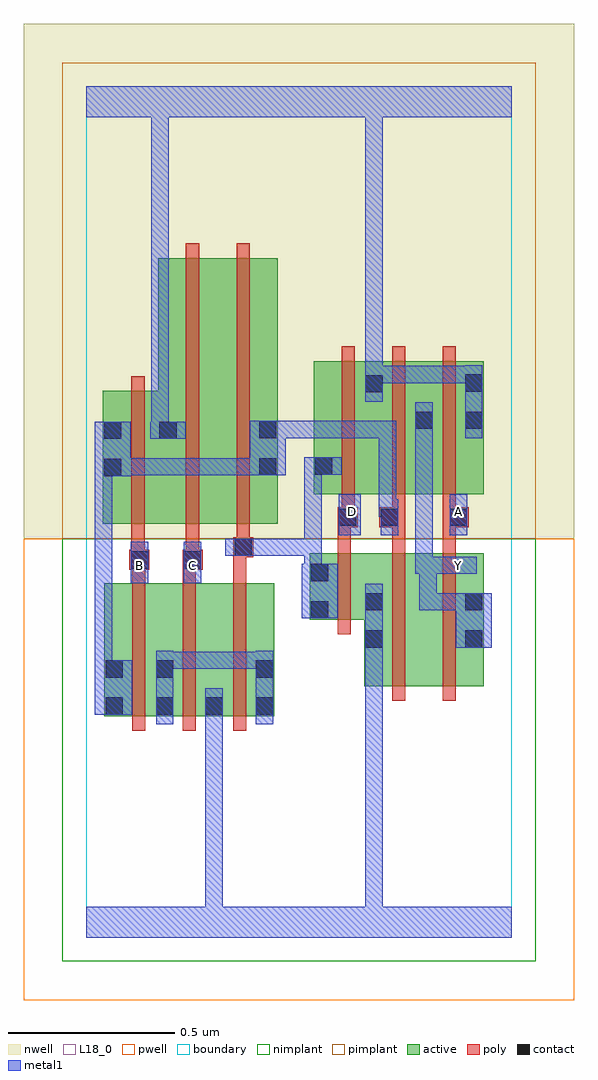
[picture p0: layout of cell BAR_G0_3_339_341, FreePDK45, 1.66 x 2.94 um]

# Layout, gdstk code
import gdstk
lib = gdstk.Library(unit=1e-6, precision=1e-09)
def R(c, l, rs):  # rectangles x0, y0, x1, y1
    for r in rs: c.add(gdstk.rectangle(r[:2], r[2:], *l))
def A(c, l, x, y, w, h, nx, ny, dx, dy):  # array of equal rectangles
    R(c, l, [(x+i*dx, y+j*dy, x+i*dx+w, y+j*dy+h) for i in range(nx) for j in range(ny)])
active = (1, 0)
pwell = (2, 0)
nwell = (3, 0)
nimplant = (4, 0)
pimplant = (5, 0)
poly = (9, 0)
contact = (10, 0)
metal1 = (11, 0)
L18_0 = (18, 0)
boundary = (235, 0)

bar_g0_3_339_341 = lib.new_cell('BAR_G0_3_339_341')
R(bar_g0_3_339_341, active, [(0.054,0.666,0.114,1.066), (0.054,0.666,0.266,1.066), (0.206,0.666,0.266,1.066), (0.206,0.666,0.414,1.066), (0.354,0.666,0.566,1.066), (0.354,0.666,0.414,0.726), (0.506,0.666,0.566,1.066), (0.836,0.756,0.896,1.156), (0.836,0.756,1.016,1.156), (1.016,0.756,1.196,1.156), (1.136,0.756,1.196,1.156), (0.672,0.956,0.896,1.156), (0.672,0.956,0.732,1.156), (0.05,1.244,0.11,1.644), (0.05,1.244,0.276,1.644), (0.216,1.244,0.396,2.044), (0.216,1.244,0.276,1.684), (0.396,1.244,0.576,2.044), (0.516,1.244,0.576,2.044), (0.684,1.334,0.896,1.734), (0.684,1.334,0.744,1.644), (0.836,1.334,1.046,1.734), (0.836,1.334,0.896,1.696), (0.986,1.334,1.196,1.734), (0.986,1.334,1.046,1.644), (1.136,1.334,1.196,1.734)])
R(bar_g0_3_339_341, pwell, [(-0.188,-0.188,1.468,1.2)])
R(bar_g0_3_339_341, nwell, [(-0.188,1.2,1.468,2.748)])
R(bar_g0_3_339_341, nimplant, [(-0.072,-0.072,1.352,1.2)])
R(bar_g0_3_339_341, pimplant, [(-0.072,1.2,1.352,2.632)])
A(bar_g0_3_339_341, poly, 0.138, 0.622, 0.04, 0.488, 3, 1, 0.152, 0)
A(bar_g0_3_339_341, poly, 0.768, 1.254, 0.04, 0.076, 3, 1, 0.152, 0)
A(bar_g0_3_339_341, poly, 0.768, 1.29, 0.04, 0.488, 3, 1, 0.152, 0)
R(bar_g0_3_339_341, poly, [(0.92,0.712,0.96,1.2), (1.072,0.712,1.112,1.2), (0.756,0.912,0.796,1.2), (0.138,1.07,0.178,1.146), (0.29,1.07,0.33,1.146), (0.442,1.07,0.482,1.184), (0.13,1.106,0.19,1.166), (0.29,1.106,0.33,1.146), (0.29,1.106,0.33,1.146), (0.29,1.106,0.35,1.166), (0.136,1.126,0.176,1.166), (0.136,1.126,0.176,1.166), (0.136,1.126,0.176,1.24), (0.3,1.126,0.34,1.24), (0.442,1.144,0.502,1.204), (0.756,1.16,0.796,1.274), (0.92,1.16,0.96,1.274), (1.072,1.16,1.112,1.274), (0.452,1.164,0.492,1.24), (0.452,1.164,0.492,1.204), (0.452,1.164,0.492,1.204), (0.136,1.2,0.176,1.688), (0.3,1.2,0.34,2.088), (0.452,1.2,0.492,2.088), (0.756,1.234,0.816,1.294), (0.882,1.234,0.96,1.294), (0.92,1.234,0.96,1.274), (0.92,1.234,0.96,1.274), (1.072,1.234,1.112,1.274), (1.072,1.234,1.112,1.274), (1.072,1.234,1.15,1.294), (0.768,1.254,0.808,1.294), (0.768,1.254,0.808,1.294)])
R(bar_g0_3_339_341, contact, [(0.058,0.67,0.11,0.722), (0.21,0.67,0.262,0.722), (0.358,0.67,0.41,0.722), (0.51,0.67,0.562,0.722), (0.058,0.782,0.11,0.834), (0.21,0.782,0.262,0.834), (0.51,0.782,0.562,0.834), (0.84,0.872,0.892,0.924), (1.14,0.872,1.192,0.924), (0.676,0.96,0.728,1.012), (0.84,0.984,0.892,1.036), (1.14,0.984,1.192,1.036), (0.676,1.072,0.728,1.124), (0.134,1.11,0.186,1.162), (0.294,1.11,0.346,1.162), (0.446,1.148,0.498,1.2), (0.76,1.238,0.812,1.29), (0.886,1.238,0.938,1.29), (1.094,1.238,1.146,1.29), (0.054,1.388,0.106,1.44), (0.52,1.39,0.572,1.442), (0.688,1.392,0.74,1.444), (0.054,1.5,0.106,1.552), (0.22,1.5,0.272,1.552), (0.52,1.502,0.572,1.554), (0.99,1.53,1.042,1.582), (1.14,1.53,1.192,1.582), (0.84,1.64,0.892,1.692), (1.14,1.642,1.192,1.694)])
R(bar_g0_3_339_341, metal1, [(0,0,1.28,0.092), (0.358,0.04,0.41,0.694), (0.84,0.04,0.892,0.896), (0.21,0.642,0.262,0.862), (0.358,0.642,0.41,0.694), (0.358,0.642,0.41,0.694), (0.358,0.642,0.41,0.694), (0.358,0.642,0.41,0.694), (0.358,0.642,0.41,0.694), (0.358,0.642,0.41,0.694), (0.358,0.642,0.41,0.694), (0.358,0.642,0.41,0.694), (0.358,0.642,0.41,0.694), (0.358,0.642,0.41,0.694), (0.358,0.642,0.41,0.694), (0.358,0.642,0.41,0.694), (0.358,0.642,0.41,0.75), (0.51,0.642,0.562,0.862), (0.026,0.67,0.138,0.834), (0.026,0.782,0.078,0.834), (0.026,0.782,0.078,0.834), (0.026,0.782,0.078,1.44), (0.21,0.808,0.262,0.86), (0.21,0.808,0.262,0.86), (0.21,0.808,0.416,0.86), (0.364,0.808,0.416,0.86), (0.364,0.808,0.416,0.86), (0.364,0.808,0.416,0.86), (0.364,0.808,0.562,0.86), (0.84,0.844,0.892,1.064), (0.84,0.844,0.892,0.896), (0.84,0.844,0.892,0.896), (0.84,0.844,0.892,0.896), (0.84,0.844,0.892,0.896), (0.84,0.844,0.892,0.896), (0.84,0.844,0.892,0.896), (0.84,0.844,0.892,0.896), (0.84,0.844,0.892,0.896), (0.84,0.844,0.892,0.896), (0.84,0.844,0.892,0.896), (0.84,0.844,0.892,0.896), (0.84,0.844,0.892,0.896), (1.112,0.872,1.22,1.036), (0.648,0.96,0.756,1.124), (1.002,0.984,1.054,1.036), (1.002,0.984,1.164,1.036), (1.002,0.984,1.054,1.146), (1.112,0.984,1.164,1.036), (1.112,0.984,1.164,1.036), (0.134,1.066,0.186,1.19), (0.294,1.066,0.346,1.19), (0.656,1.072,0.708,1.2), (0.99,1.094,1.042,1.554), (0.99,1.094,1.174,1.146), (0.418,1.148,0.526,1.2), (0.474,1.148,0.526,1.2), (0.474,1.148,0.526,1.2), (0.474,1.148,0.708,1.2), (0.656,1.148,0.708,1.2), (0.656,1.148,0.708,1.444), (0.76,1.21,0.826,1.334), (0.886,1.21,0.938,1.318), (1.094,1.21,1.146,1.334), (0.88,1.266,0.932,1.318), (0.88,1.266,0.938,1.318), (0.88,1.266,0.932,1.554), (0.026,1.388,0.078,1.44), (0.026,1.388,0.078,1.44), (0.026,1.388,0.134,1.552), (0.082,1.39,0.134,1.442), (0.082,1.39,0.134,1.442), (0.082,1.39,0.248,1.442), (0.196,1.39,0.248,1.442), (0.196,1.39,0.248,1.442), (0.196,1.39,0.248,1.442), (0.196,1.39,0.416,1.442), (0.364,1.39,0.416,1.442), (0.364,1.39,0.544,1.442), (0.492,1.39,0.544,1.442), (0.492,1.39,0.544,1.442), (0.492,1.39,0.6,1.554), (0.656,1.392,0.712,1.444), (0.66,1.392,0.712,1.444), (0.66,1.392,0.768,1.444), (0.192,1.5,0.3,1.552), (0.196,1.5,0.248,1.552), (0.196,1.5,0.248,1.552), (0.196,1.5,0.248,2.52), (0.548,1.502,0.6,1.554), (0.548,1.502,0.6,1.554), (0.548,1.502,0.782,1.554), (0.73,1.502,0.782,1.554), (0.73,1.502,0.782,1.554), (0.73,1.502,0.782,1.554), (0.73,1.502,0.932,1.554), (0.88,1.502,0.932,1.554), (0.88,1.502,0.932,1.554), (0.88,1.502,0.932,1.554), (0.99,1.502,1.042,1.554), (0.99,1.502,1.042,1.554), (0.99,1.502,1.042,1.61), (1.14,1.502,1.192,1.722), (0.84,1.612,0.892,1.72), (0.84,1.668,0.892,1.72), (0.84,1.668,0.892,1.72), (0.84,1.668,0.892,1.72), (0.84,1.668,0.892,1.72), (0.84,1.668,0.892,1.72), (0.84,1.668,0.892,1.72), (0.84,1.668,0.892,1.72), (0.84,1.668,0.892,1.72), (0.84,1.668,0.892,1.72), (0.84,1.668,0.892,1.72), (0.84,1.668,1.054,1.72), (0.84,1.668,0.892,2.52), (1.002,1.668,1.192,1.72), (1.002,1.668,1.054,1.72), (1.002,1.668,1.054,1.72), (1.002,1.668,1.054,1.72), (0,2.468,1.28,2.56), (0.196,2.468,0.248,2.52), (0.196,2.468,0.248,2.52), (0.196,2.468,0.248,2.52), (0.196,2.468,0.248,2.52), (0.196,2.468,0.248,2.52), (0.196,2.468,0.248,2.52), (0.84,2.468,0.892,2.52), (0.84,2.468,0.892,2.52), (0.84,2.468,0.892,2.52), (0.84,2.468,0.892,2.52), (0.84,2.468,0.892,2.52), (0.84,2.468,0.892,2.52), (0.84,2.468,0.892,2.52), (0.84,2.468,0.892,2.52)])
R(bar_g0_3_339_341, L18_0, [(0,0,1.28,0.092), (0.358,0.04,0.41,0.694), (0.84,0.04,0.892,0.896), (0.358,0.642,0.41,0.694), (0.358,0.642,0.41,0.694), (0.358,0.642,0.41,0.694), (0.358,0.642,0.41,0.694), (0.358,0.642,0.41,0.694), (0.358,0.642,0.41,0.694), (0.358,0.642,0.41,0.694), (0.358,0.642,0.41,0.694), (0.358,0.642,0.41,0.694), (0.358,0.642,0.41,0.694), (0.358,0.642,0.41,0.694), (0.358,0.642,0.41,0.694), (0.358,0.642,0.41,0.75), (0.84,0.844,0.892,0.896), (0.84,0.844,0.892,0.896), (0.84,0.844,0.892,0.896), (0.84,0.844,0.892,0.896), (0.84,0.844,0.892,0.896), (0.84,0.844,0.892,0.896), (0.84,0.844,0.892,0.896), (0.84,0.844,0.892,0.896), (0.84,0.844,0.892,0.896), (0.84,0.844,0.892,0.896), (0.84,0.844,0.892,0.896), (0.84,0.844,0.892,0.896), (0.84,0.844,0.892,1.064), (1.112,0.872,1.22,1.036), (1.002,0.984,1.054,1.036), (1.002,0.984,1.054,1.146), (1.002,0.984,1.164,1.036), (1.112,0.984,1.164,1.036), (1.112,0.984,1.164,1.036), (0.134,1.066,0.186,1.19), (0.294,1.066,0.346,1.19), (0.134,1.094,0.186,1.146), (0.294,1.094,0.346,1.146), (0.99,1.094,1.174,1.146), (0.99,1.094,1.042,1.554), (1.094,1.094,1.146,1.146), (0.76,1.21,0.826,1.334), (1.094,1.21,1.146,1.334), (0.774,1.254,0.826,1.306), (1.094,1.254,1.146,1.306), (0.192,1.5,0.3,1.552), (0.196,1.5,0.248,1.552), (0.196,1.5,0.248,1.552), (0.196,1.5,0.248,2.52), (0.99,1.502,1.042,1.554), (0.99,1.502,1.042,1.554), (0.99,1.502,1.042,1.61), (1.14,1.502,1.192,1.722), (0.84,1.612,0.892,1.72), (0.84,1.668,0.892,1.72), (0.84,1.668,0.892,1.72), (0.84,1.668,0.892,1.72), (0.84,1.668,0.892,1.72), (0.84,1.668,0.892,1.72), (0.84,1.668,0.892,1.72), (0.84,1.668,0.892,1.72), (0.84,1.668,0.892,1.72), (0.84,1.668,0.892,1.72), (0.84,1.668,0.892,1.72), (0.84,1.668,0.892,2.52), (0.84,1.668,1.054,1.72), (1.002,1.668,1.054,1.72), (1.002,1.668,1.054,1.72), (1.002,1.668,1.054,1.72), (1.002,1.668,1.192,1.72), (0,2.468,1.28,2.56), (0.196,2.468,0.248,2.52), (0.196,2.468,0.248,2.52), (0.196,2.468,0.248,2.52), (0.196,2.468,0.248,2.52), (0.196,2.468,0.248,2.52), (0.196,2.468,0.248,2.52), (0.84,2.468,0.892,2.52), (0.84,2.468,0.892,2.52), (0.84,2.468,0.892,2.52), (0.84,2.468,0.892,2.52), (0.84,2.468,0.892,2.52), (0.84,2.468,0.892,2.52), (0.84,2.468,0.892,2.52), (0.84,2.468,0.892,2.52)])
R(bar_g0_3_339_341, boundary, [(0,0,1.28,2.56)])
bar_g0_3_339_341.add(gdstk.Label('A', (1.12,1.28), layer=11, texttype=0))
bar_g0_3_339_341.add(gdstk.Label('B', (0.16,1.12), layer=11, texttype=0))
bar_g0_3_339_341.add(gdstk.Label('C', (0.32,1.12), layer=11, texttype=0))
bar_g0_3_339_341.add(gdstk.Label('D', (0.8,1.28), layer=11, texttype=0))
bar_g0_3_339_341.add(gdstk.Label('Y', (1.12,1.12), layer=11, texttype=0))

lib.write_gds('BAR_G0_3_339_341.gds')
